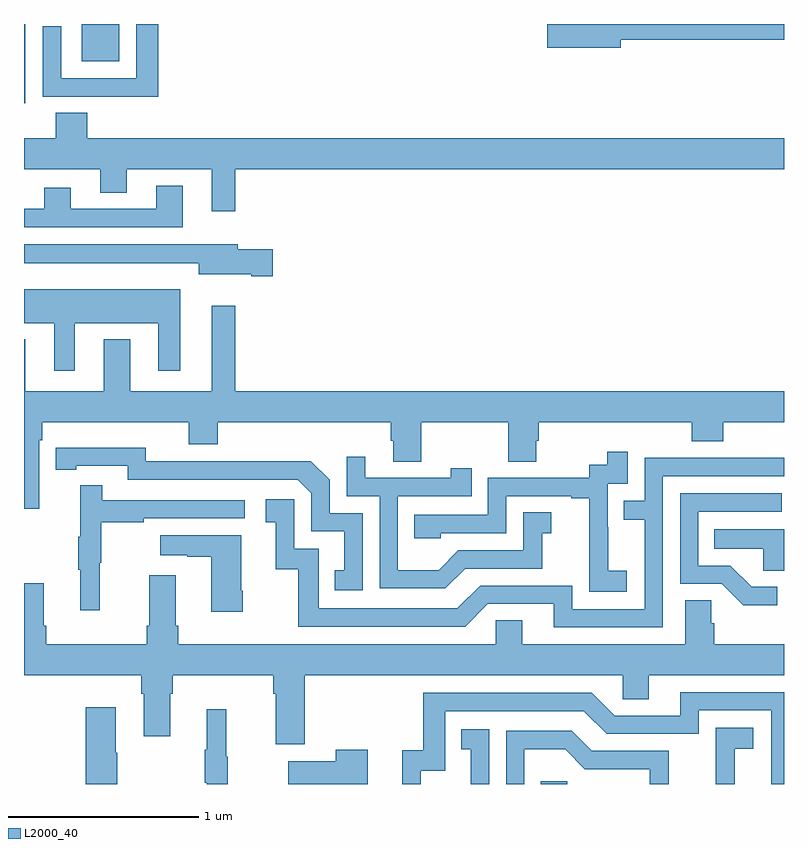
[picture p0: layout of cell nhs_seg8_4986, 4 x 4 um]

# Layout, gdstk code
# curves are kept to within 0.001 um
import gdstk
lib = gdstk.Library(unit=1e-6, precision=1e-09)
def R(c, l, rs):  # rectangles x0, y0, x1, y1
    for r in rs: c.add(gdstk.rectangle(r[:2], r[2:], *l))
def P(c, l, *ps):  # polygons
    for p in ps: c.add(gdstk.Polygon(p, *l))
L2000_40 = (2000, 40)

nhs_seg8_4986 = lib.new_cell('nhs_seg8_4986')
R(nhs_seg8_4986, L2000_40, [(413.719,1143.9,413.859,1143.915), (411,1147.482,411.006,1147.9), (411.305,1147.703,411.502,1147.9)])
P(nhs_seg8_4986, L2000_40, [(411.707,1147.9),(411.591,1147.9),(411.591,1147.614),(411.195,1147.614),(411.195,1147.888),(411.099,1147.888),(411.099,1147.518),(411.415,1147.518),(411.415,1147.517),(411.707,1147.517)],
  [(414.142,1147.816),(415,1147.816),(415,1147.9),(413.754,1147.9),(413.754,1147.774),(414.142,1147.774)],
  [(412.111,1147.136),(415,1147.136),(415,1147.3),(411.332,1147.3),(411.332,1147.433),(411.167,1147.433),(411.167,1147.3),(411,1147.3),(411,1147.136),(411.401,1147.136),(411.401,1147.012),(411.541,1147.012),(411.541,1147.136),(411.989,1147.136),(411.989,1146.915),(412.111,1146.915)],
  [(411.835,1147.048),(411.695,1147.048),(411.695,1146.927),(411.247,1146.927),(411.247,1147.039),(411.107,1147.039),(411.107,1146.927),(411,1146.927),(411,1146.831),(411.835,1146.831)],
  [(412.309,1146.714),(412.126,1146.714),(412.126,1146.742),(411,1146.742),(411,1146.641),(411.92,1146.641),(411.92,1146.584),(412.196,1146.584),(412.196,1146.572),(412.309,1146.572)],
  [(411.268,1146.326),(411.707,1146.326),(411.707,1146.075),(411.823,1146.075),(411.823,1146.505),(411,1146.505),(411,1146.326),(411.158,1146.326),(411.158,1146.075),(411.268,1146.075)],
  [(411.081,1145.708),(411.095,1145.708),(411.095,1145.804),(411.866,1145.804),(411.866,1145.687),(412.019,1145.687),(412.019,1145.804),(412.931,1145.804),(412.931,1145.706),(412.943,1145.706),(412.943,1145.596),(413.091,1145.596),(413.091,1145.804),(413.548,1145.804),(413.548,1145.596),(413.695,1145.596),(413.695,1145.706),(413.708,1145.706),(413.708,1145.804),(414.515,1145.804),(414.515,1145.705),(414.68,1145.705),(414.68,1145.804),(415,1145.804),(415,1145.968),(412.111,1145.968),(412.111,1146.418),(411.989,1146.418),(411.989,1145.968),(411.559,1145.968),(411.559,1146.241),(411.419,1146.241),(411.419,1145.968),(411.007,1145.968),(411.007,1146.241),(411,1146.241),(411,1145.349),(411.081,1145.349)],
  [(412.782,1145.325),(412.608,1145.325),(412.608,1145.502),(412.51,1145.6),(412.102,1145.6),(412.102,1145.598),(411.642,1145.598),(411.642,1145.671),(411.166,1145.67),(411.166,1145.554),(411.274,1145.554),(411.274,1145.574),(411.546,1145.574),(411.546,1145.502),(412.44,1145.502),(412.512,1145.43),(412.512,1145.229),(412.685,1145.229),(412.685,1145.025),(412.636,1145.025),(412.636,1144.92),(412.782,1144.92)],
  [(414.172,1145.023),(414.074,1145.023),(414.074,1145.252),(414.072,1145.252),(414.072,1145.481),(414.177,1145.481),(414.177,1145.65),(414.069,1145.65),(414.069,1145.58),(413.976,1145.58),(413.976,1145.511),(413.442,1145.511),(413.442,1145.316),(413.053,1145.316),(413.053,1145.193),(413.193,1145.193),(413.193,1145.22),(413.538,1145.22),(413.538,1145.415),(413.879,1145.415),(413.879,1145.403),(413.975,1145.403),(413.975,1145.119),(413.974,1145.119),(413.974,1144.913),(414.172,1144.913)],
  [(413.323,1145.034),(413.727,1145.034),(413.727,1145.219),(413.776,1145.219),(413.776,1145.329),(413.628,1145.329),(413.628,1145.13),(413.286,1145.13),(413.182,1145.026),(412.968,1145.026),(412.968,1145.415),(413.357,1145.415),(413.357,1145.563),(413.246,1145.563),(413.246,1145.511),(412.795,1145.511),(412.795,1145.623),(412.698,1145.623),(412.698,1145.415),(412.872,1145.415),(412.872,1144.929),(413.218,1144.929)],
  [(414.363,1145.52),(415,1145.52),(415,1145.618),(414.763,1145.618),(414.763,1145.616),(414.267,1145.616),(414.267,1145.391),(414.157,1145.391),(414.157,1145.29),(414.267,1145.29),(414.267,1144.821),(413.886,1144.821),(413.886,1144.944),(413.4,1144.944),(413.28,1144.824),(412.551,1144.824),(412.551,1145.139),(412.422,1145.139),(412.422,1145.398),(412.272,1145.398),(412.272,1145.277),(412.325,1145.277),(412.325,1145.031),(412.443,1145.031),(412.443,1144.728),(413.322,1144.728),(413.442,1144.848),(413.789,1144.848),(413.789,1144.725),(414.363,1144.725)],
  [(411.398,1145.064),(411.406,1145.064),(411.406,1145.278),(411.629,1145.278),(411.629,1145.298),(412.162,1145.298),(412.162,1145.394),(411.413,1145.394),(411.413,1145.473),(411.296,1145.473),(411.296,1145.201),(411.285,1145.201),(411.285,1145.027),(411.296,1145.027),(411.296,1144.815),(411.398,1144.815)],
  [(414.964,1144.938),(414.829,1144.938),(414.718,1145.049),(414.549,1145.049),(414.549,1145.334),(414.988,1145.334),(414.988,1145.43),(414.453,1145.43),(414.453,1144.953),(414.672,1144.953),(414.785,1144.841),(414.964,1144.841)],
  [(415,1145.242),(414.634,1145.242),(414.634,1145.138),(414.891,1145.138),(414.891,1145.023),(415,1145.023)],
  [(412.152,1144.918),(412.144,1144.918),(412.144,1145.209),(411.717,1145.209),(411.717,1145.105),(411.86,1145.105),(411.86,1145.095),(411.986,1145.095),(411.986,1144.806),(412.152,1144.806)],
  [(412.478,1144.472),(414.15,1144.472),(414.15,1144.345),(414.289,1144.345),(414.289,1144.472),(415,1144.472),(415,1144.636),(414.632,1144.636),(414.632,1144.745),(414.618,1144.745),(414.618,1144.868),(414.479,1144.868),(414.479,1144.636),(413.623,1144.636),(413.623,1144.763),(413.484,1144.763),(413.484,1144.636),(411.812,1144.636),(411.812,1144.732),(411.799,1144.732),(411.799,1144.999),(411.659,1144.999),(411.659,1144.732),(411.647,1144.732),(411.647,1144.636),(411.116,1144.636),(411.116,1144.732),(411.103,1144.732),(411.103,1144.957),(411,1144.957),(411,1144.472),(411.617,1144.472),(411.617,1144.376),(411.629,1144.376),(411.629,1144.152),(411.769,1144.152),(411.769,1144.376),(411.782,1144.376),(411.782,1144.472),(412.313,1144.472),(412.313,1144.376),(412.325,1144.376),(412.325,1144.11),(412.478,1144.11)],
  [(413.088,1143.969),(413.217,1143.969),(413.217,1144.284),(413.946,1144.284),(414.066,1144.164),(414.552,1144.164),(414.552,1144.287),(414.933,1144.287),(414.933,1143.9),(415,1143.9),(415,1144.383),(414.455,1144.383),(414.455,1144.26),(414.108,1144.26),(413.988,1144.38),(413.101,1144.38),(413.101,1144.078),(412.991,1144.078),(412.991,1143.9),(413.088,1143.9)],
  [(411.492,1144.064),(411.484,1144.064),(411.484,1144.303),(411.326,1144.303),(411.326,1143.9),(411.492,1143.9)],
  [(412.072,1144.044),(412.064,1144.044),(412.064,1144.294),(411.962,1144.294),(411.962,1144.081),(411.951,1144.081),(411.951,1143.907),(411.962,1143.907),(411.962,1143.9),(412.072,1143.9)],
  [(414.74,1144.085),(414.838,1144.085),(414.838,1144.195),(414.64,1144.195),(414.64,1143.989),(414.641,1143.989),(414.641,1143.9),(414.74,1143.9)],
  [(413.448,1144.189),(413.302,1144.189),(413.302,1144.083),(413.351,1144.083),(413.351,1143.9),(413.448,1143.9)],
  [(413.634,1144.082),(413.848,1144.082),(413.952,1143.978),(414.294,1143.978),(414.294,1143.9),(414.393,1143.9),(414.393,1144.074),(413.989,1144.074),(413.884,1144.179),(413.538,1144.179),(413.538,1143.9),(413.634,1143.9)],
  [(412.81,1144.081),(412.64,1144.081),(412.64,1144.021),(412.391,1144.021),(412.391,1143.9),(412.81,1143.9)])

lib.write_gds('nhs_seg8_4986.gds')
